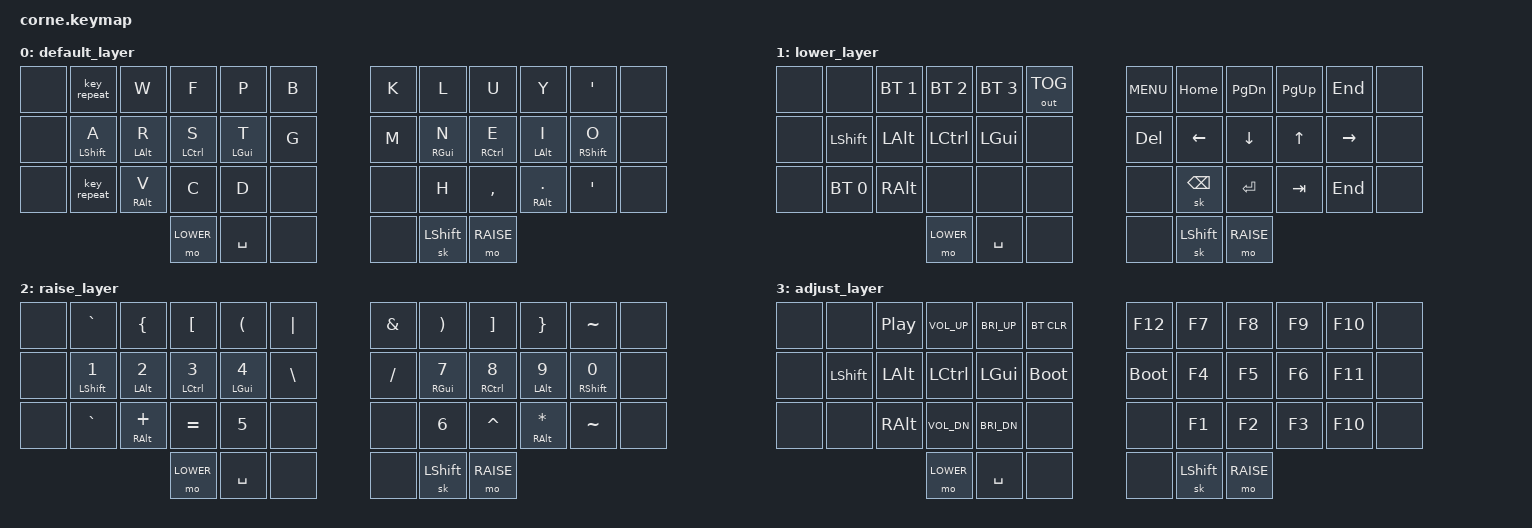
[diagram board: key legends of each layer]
/*
 * Copyright (c) 2020 The ZMK Contributors
 *
 * SPDX-License-Identifier: MIT
 */

#include <behaviors.dtsi>
#include <dt-bindings/zmk/keys.h>
#include <dt-bindings/zmk/bt.h>
#include <dt-bindings/zmk/outputs.h>

#define DEFAULT 0
#define LOWER   1
#define RAISE   2
#define ADJUST  3
#define LWR LOWER
#define RSE RAISE
#define ADJ ADJUST

&mt {
    flavor = "tap-preferred";
    tapping-term-ms = <250>;
    quick_tap_ms = <180>;
};

&lt {
    /* flavor = "balanced"; */
    quick_tap_ms = <200>;
    tapping-term-ms = <180>;
};

&sk {
    release-after-ms = <250>;
};

/ {
        behaviors {
            gqt: global-quick-tap {
                compatible = "zmk,behavior-hold-tap";
                label = "GLOBAL_QUICK_TAP";
                #binding-cells = <2>;
                flavor = "tap-preferred";
                tapping-term-ms = <200>;
                quick-tap-ms = <300>;
                global-quick-tap;
                bindings = <&kp>, <&kp>;
            };
        };
        
        combos {
           compatible = "zmk,combos";

           combo_Z {
              timeout-ms = <20>;
              key-positions = <2 3>;
              bindings = <&kp Z>;
           };

           combo_Q {
              timeout-ms = <20>;
              key-positions = <3 4>;
              bindings = <&kp Q>;
           };
                      
           combo_X {
              timeout-ms = <20>;
              key-positions = <14 15>;
              bindings = <&kp X>;
           };
           
           combo_J {
              timeout-ms = <20>;
              key-positions = <15 16>;
              bindings = <&kp J>;
           };
           
           combo_escape {
              timeout-ms = <20>;
              key-positions = <27 28>;
              bindings = <&kp ESC>;
           };

           combo_colon {
              timeout-ms = <20>;
              key-positions = <7 8>;
              bindings = <&kp COLON>;
           };
           
            combo_semicolon {
              timeout-ms = <20>;
              key-positions = <8 9>;
              bindings = <&kp SEMI>;
           };
           
           combo_minus {
              timeout-ms = <20>;
              key-positions = <19 20>;
              bindings = <&kp MINUS>;
           };

           combo_qmark {
              timeout-ms = <20>;
              key-positions = <20 21>;
              bindings = <&kp QMARK>;
           };

           combo_underscore {
              timeout-ms = <20>;
              key-positions = <31 32>;
              bindings = <&kp UNDER>;
           };
           
           combo_exlamation {
              timeout-ms = <20>;
              key-positions = <32 33>;
              bindings = <&kp EXCL>;
           };
        };

        conditional_layers {
            compatible = "zmk,conditional-layers";
            tri_layer {
                if-layers = <LOWER RAISE>;
                then-layer = <ADJUST>;
            };
        };

        keymap {
                compatible = "zmk,keymap";

                default_layer {
                        bindings = <
   &none &key_repeat      &kp W      &kp F       &kp P        &kp B         &kp K         &kp L       &kp U        &kp Y      &kp APOS  &none
   &none &gqt LSHIFT A &gqt LALT R &gqt LCTRL S &gqt LGUI T   &kp G         &kp M         &gqt RGUI N  &gqt RCTRL E  &gqt LALT I &gqt RSHIFT O     &none
   &none &key_repeat  &gqt RALT V &kp C       &kp D        &none         &none         &kp H       &kp COMMA    &gqt RALT DOT    &kp APOS  &none
                               &mo LWR &kp SPACE &none     &none &sk LSHIFT &mo RSE
                        >;
                };
                lower_layer {
                        bindings = <
   &none &none   &bt BT_SEL 1       &bt BT_SEL 2   &bt BT_SEL 3      &out OUT_TOG       &kp C_MENU     &kp HOME       &kp PG_DN &kp PG_UP      &kp END      &none
   &none &kp LSHIFT &kp LALT &kp LCTRL &kp LGUI  &none         &kp DEL     &kp LEFT &kp DOWN  &kp UP &kp RIGHT &none
   &none &bt BT_SEL 0   &kp RALT &none       &none       &none         &none     &sk BSPC        &kp RET        &kp TAB      &kp END      &none
                               &mo LWR &kp SPACE &none     &none &sk LSHIFT &mo RSE
                        >;
                };
                raise_layer {
                        bindings = <
   &none &kp GRAVE &kp LBRC   &kp LBKT      &kp  LPAR      &kp PIPE        &kp AMPS   &kp RPAR         &kp RBKT       &kp RBRC         &kp TILDE    &none
   &none &mt LSHIFT N1 &mt LALT N2 &mt LCTRL N3   &mt LGUI N4    &kp BSLH         &kp FSLH &mt RGUI N7 &mt RCTRL N8 &mt LALT N9 &mt RSHIFT N0   &none
   &none &kp GRAVE   &mt RALT PLUS &kp EQUAL       &kp N5        &none         &none &kp N6      &kp CARET    &mt RALT STAR   &kp TILDE &none
                               &mo LWR &kp SPACE &none     &none &sk LSHIFT &mo RSE
                        >;
                };
                adjust_layer {
                        bindings = <
   &none &none  &kp C_PP   &kp C_VOL_UP    &kp C_BRI_UP    &bt BT_CLR         &kp F12         &kp F7   &kp F8   &kp F9      &kp F10   &none
   &none &kp LSHIFT     &kp LALT        &kp LCTRL       &kp LGUI        &bootloader     &bootloader   &kp F4   &kp F5   &kp F6      &kp F11   &none
   &none &none  &kp RALT  &kp C_VOL_DN    &kp C_BRI_DN    &none    &none    &kp F1   &kp F2  &kp F3     &kp F10  &none
                               &mo LWR &kp SPACE &none     &none &sk LSHIFT &mo RSE
                        >;
                };
        };
};
